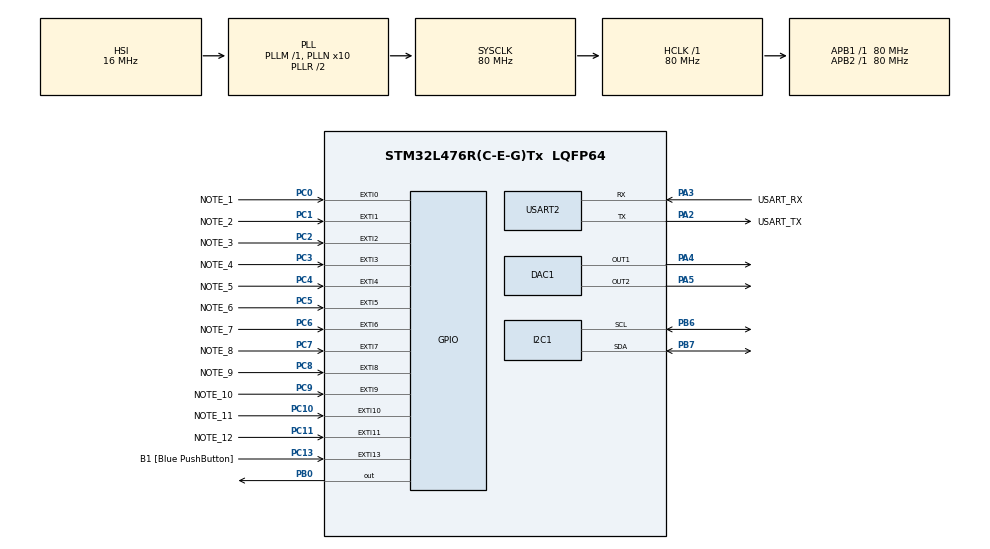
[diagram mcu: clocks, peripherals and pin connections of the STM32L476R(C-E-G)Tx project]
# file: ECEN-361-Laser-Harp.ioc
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DAC1.DAC_Channel-DAC_OUT2=DAC_CHANNEL_2
I2C1.Timing=0x10909CEC
Mcu.Family=STM32L4
Mcu.Name=STM32L476R(C-E-G)Tx
Mcu.Package=LQFP64
NVIC.EXTI0_IRQn=true\:0\:0\:false\:false\:true\:true\:true\:true
NVIC.EXTI15_10_IRQn=true\:0\:0\:false\:false\:true\:true\:true\:true
NVIC.EXTI1_IRQn=true\:0\:0\:false\:false\:true\:true\:true\:true
NVIC.EXTI2_IRQn=true\:0\:0\:false\:false\:true\:true\:true\:true
NVIC.EXTI3_IRQn=true\:0\:0\:false\:false\:true\:true\:true\:true
NVIC.EXTI4_IRQn=true\:0\:0\:false\:false\:true\:true\:true\:true
NVIC.EXTI9_5_IRQn=true\:0\:0\:false\:false\:true\:true\:true\:true
NVIC.PriorityGroup=NVIC_PRIORITYGROUP_4
NVIC.TIM1_BRK_TIM15_IRQn=true\:0\:0\:false\:false\:true\:true\:true\:true
NVIC.TIM6_DAC_IRQn=true\:0\:0\:false\:false\:true\:true\:true\:true
NVIC.USART2_IRQn=true\:0\:0\:false\:false\:true\:true\:true\:true
PA13\ (JTMS-SWDIO).GPIO_Label=TMS
PA13\ (JTMS-SWDIO).Mode=Serial_Wire
PA13\ (JTMS-SWDIO).Signal=SYS_JTMS-SWDIO
PA14\ (JTCK-SWCLK).GPIO_Label=TCK
PA14\ (JTCK-SWCLK).Mode=Serial_Wire
PA14\ (JTCK-SWCLK).Signal=SYS_JTCK-SWCLK
PA2.GPIO_Label=USART_TX
PA2.GPIO_Mode=GPIO_MODE_AF_PP
PA2.GPIO_PuPd=GPIO_NOPULL
PA2.GPIO_Speed=GPIO_SPEED_FREQ_VERY_HIGH
PA2.Mode=Asynchronous
PA2.Signal=USART2_TX
PA3.GPIO_Label=USART_RX
PA3.GPIO_Mode=GPIO_MODE_AF_PP
PA3.GPIO_PuPd=GPIO_NOPULL
PA3.GPIO_Speed=GPIO_SPEED_FREQ_VERY_HIGH
PA3.Mode=Asynchronous
PA3.Signal=USART2_RX
PA4.Signal=COMP_DAC11_group
PA5.Signal=COMP_DAC12_group
PB0.Signal=GPIO_Output
PB3\ (JTDO-TRACESWO).GPIO_Label=SWO
PB3\ (JTDO-TRACESWO).Signal=SYS_JTDO-SWO
PB6.Mode=I2C
PB6.Signal=I2C1_SCL
PB7.Mode=I2C
PB7.Signal=I2C1_SDA
PC0.GPIO_Label=NOTE_1
PC0.GPIO_ModeDefaultEXTI=GPIO_MODE_IT_RISING
PC0.GPIO_PuPd=GPIO_NOPULL
PC0.Signal=GPXTI0
PC1.GPIO_Label=NOTE_2
PC1.GPIO_PuPd=GPIO_NOPULL
PC1.Signal=GPXTI1
PC10.GPIO_Label=NOTE_11
PC10.GPIO_PuPd=GPIO_NOPULL
PC10.Signal=GPXTI10
PC11.GPIO_Label=NOTE_12
PC11.GPIO_PuPd=GPIO_PULLDOWN
PC11.Signal=GPXTI11
PC13.GPIO_Label=B1 [Blue PushButton]
PC13.GPIO_ModeDefaultEXTI=GPIO_MODE_IT_FALLING
PC13.GPIO_PuPd=GPIO_NOPULL
PC13.Signal=GPXTI13
PC14-OSC32_IN\ (PC14).Mode=LSE-External-Oscillator
PC14-OSC32_IN\ (PC14).Signal=RCC_OSC32_IN
PC15-OSC32_OUT\ (PC15).Mode=LSE-External-Oscillator
PC15-OSC32_OUT\ (PC15).Signal=RCC_OSC32_OUT
PC2.GPIO_Label=NOTE_3
PC2.GPIO_PuPd=GPIO_NOPULL
PC2.Signal=GPXTI2
PC3.GPIO_Label=NOTE_4
PC3.GPIO_PuPd=GPIO_NOPULL
PC3.Signal=GPXTI3
PC4.GPIO_Label=NOTE_5
PC4.GPIO_PuPd=GPIO_NOPULL
PC4.Signal=GPXTI4
PC5.GPIO_Label=NOTE_6
PC5.GPIO_PuPd=GPIO_NOPULL
PC5.Signal=GPXTI5
PC6.GPIO_Label=NOTE_7
PC6.GPIO_PuPd=GPIO_NOPULL
PC6.Signal=GPXTI6
PC7.GPIO_Label=NOTE_8
PC7.GPIO_PuPd=GPIO_NOPULL
PC7.Signal=GPXTI7
PC8.GPIO_Label=NOTE_9
PC8.GPIO_PuPd=GPIO_PULLDOWN
PC8.Signal=GPXTI8
PC9.GPIO_Label=NOTE_10
PC9.GPIO_PuPd=GPIO_NOPULL
PC9.Signal=GPXTI9
PH0-OSC_IN\ (PH0).Signal=RCC_OSC_IN
PH1-OSC_OUT\ (PH1).Signal=RCC_OSC_OUT
ProjectManager.HeapSize=0x200
ProjectManager.StackSize=0x400
ProjectManager.TargetToolchain=STM32CubeIDE
RCC.ADCFreq_Value=64000000
RCC.AHBFreq_Value=80000000
RCC.APB1Freq_Value=80000000
RCC.APB1TimFreq_Value=80000000
RCC.APB2Freq_Value=80000000
RCC.APB2TimFreq_Value=80000000
RCC.CortexFreq_Value=80000000
RCC.HCLKFreq_Value=80000000
RCC.HSE_VALUE=8000000
RCC.HSI_VALUE=16000000
RCC.MSI_VALUE=4000000
RCC.PLLN=10
RCC.PLLSourceVirtual=RCC_PLLSOURCE_HSI
RCC.PREFETCH_ENABLE=1
RCC.SYSCLKFreq_VALUE=80000000
RCC.SYSCLKSource=RCC_SYSCLKSOURCE_PLLCLK
RCC.USBFreq_Value=64000000
RCC.VCOOutputFreq_Value=160000000
SH.COMP_DAC11_group.0=DAC1_OUT1,DAC_OUT1
SH.COMP_DAC12_group.0=DAC1_OUT2,DAC_OUT2
TIM15.AutoReloadPreload=TIM_AUTORELOAD_PRELOAD_ENABLE
TIM15.Period=9
TIM15.Prescaler=80-1
USART2.VirtualMode-Asynchronous=VM_ASYNC
VP_TIM15_VS_ClockSourceINT.Mode=Internal
board=NUCLEO-L476RG

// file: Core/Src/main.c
/* USER CODE BEGIN Header */
/*
    __                               __  __
   / /   ____ _ _____ ___   _____   / / / /____ _ _____ ____
  / /   / __ `// ___// _ \ / ___/  / /_/ // __ `// ___// __ \
 / /___/ /_/ /(__  )/  __// /     / __  // /_/ // /   / /_/ /
/_____/\__,_//____/ \___//_/     /_/ /_/ \__,_//_/   / .___/
                                                    /_/
*/
/**
  ******************************************************************************
  * @file           : main.c
  * @brief          : Main program body
  ******************************************************************************
  * @attention
  *
  * Copyright (c) 2024 STMicroelectronics.
  * All rights reserved.
  *
  * This software is licensed under terms that can be found in the LICENSE file
  * in the root directory of this software component.
  * If no LICENSE file comes with this software, it is provided AS-IS.
  *
  ******************************************************************************
  * Authors: Ian Searle
  * Version: 1.0.0
  */
/* USER CODE END Header */
#include "main.h"

/* USER CODE BEGIN Includes */
//#include "sine_tables.h"
#include "tranposition.h"
#include "I2C_commands.h"

/* USER CODE END Includes */

/* USER CODE BEGIN PM */

/* These defines represent the point in a list where that notes data is held.*/
#define NOTE_C 		0
#define NOTE_Cs 	1
#define NOTE_D 		2
#define NOTE_Ds 	3
#define NOTE_E 		4
#define NOTE_F 		5
#define NOTE_Fs 	6
#define NOTE_G 		7
#define NOTE_Gs 	8
#define NOTE_A 		9
#define NOTE_As		10
#define NOTE_B 		11

/* USER CODE END PM */

DAC_HandleTypeDef hdac1;

I2C_HandleTypeDef hi2c1;

TIM_HandleTypeDef htim15;

UART_HandleTypeDef huart2;

/* USER CODE BEGIN PV */
/* Index and Active are lists that are 12 long. This is to improve spatial locality in the program.
Using the above stated define we can thats notes data from the list*/

int index[] = {1,0,0,0,0,0,0,0,0,0,0,0};
int active[] = {1,0,0,0,0,0,0,0,0,0,0,0};

//char screen_out[] ={"H","e","l","l","o"};

/* USER CODE END PV */

void SystemClock_Config(void);
static void MX_GPIO_Init(void);
static void MX_USART2_UART_Init(void);
static void MX_DAC1_Init(void);
static void MX_TIM15_Init(void);
static void MX_I2C1_Init(void);

int main(void)
{

  /* MCU Configuration--------------------------------------------------------*/

  /* Reset of all peripherals, Initializes the Flash interface and the Systick. */
  HAL_Init();

  /* Configure the system clock */
  SystemClock_Config();

  /* Initialize all configured peripherals */
  MX_GPIO_Init();
  MX_USART2_UART_Init();
  MX_DAC1_Init();
  MX_TIM15_Init();
  MX_I2C1_Init();
  /* USER CODE BEGIN 2 */

  HAL_TIM_Base_Start_IT(&htim15); // Start the Music Interrupt Timer

  HAL_DAC_Start(&hdac1, DAC_CHANNEL_2); // Start one of the dac channels

  /* USER CODE END 2 */

  /* Infinite loop */
  while (1)
  {

  }
}

void SystemClock_Config(void)
{
  RCC_OscInitTypeDef RCC_OscInitStruct = {0};
  RCC_ClkInitTypeDef RCC_ClkInitStruct = {0};

  /** Configure the main internal regulator output voltage
  */
  if (HAL_PWREx_ControlVoltageScaling(PWR_REGULATOR_VOLTAGE_SCALE1) != HAL_OK)
  {
    Error_Handler();
  }

  /** Initializes the RCC Oscillators according to the specified parameters
  * in the RCC_OscInitTypeDef structure.
  */
  RCC_OscInitStruct.OscillatorType = RCC_OSCILLATORTYPE_HSI;
  RCC_OscInitStruct.HSIState = RCC_HSI_ON;
  RCC_OscInitStruct.HSICalibrationValue = RCC_HSICALIBRATION_DEFAULT;
  RCC_OscInitStruct.PLL.PLLState = RCC_PLL_ON;
  RCC_OscInitStruct.PLL.PLLSource = RCC_PLLSOURCE_HSI;
  RCC_OscInitStruct.PLL.PLLM = 1;
  RCC_OscInitStruct.PLL.PLLN = 10;
  RCC_OscInitStruct.PLL.PLLP = RCC_PLLP_DIV7;
  RCC_OscInitStruct.PLL.PLLQ = RCC_PLLQ_DIV2;
  RCC_OscInitStruct.PLL.PLLR = RCC_PLLR_DIV2;
  if (HAL_RCC_OscConfig(&RCC_OscInitStruct) != HAL_OK)
  {
    Error_Handler();
  }

  /** Initializes the CPU, AHB and APB buses clocks
  */
  RCC_ClkInitStruct.ClockType = RCC_CLOCKTYPE_HCLK|RCC_CLOCKTYPE_SYSCLK
                              |RCC_CLOCKTYPE_PCLK1|RCC_CLOCKTYPE_PCLK2;
  RCC_ClkInitStruct.SYSCLKSource = RCC_SYSCLKSOURCE_PLLCLK;
  RCC_ClkInitStruct.AHBCLKDivider = RCC_SYSCLK_DIV1;
  RCC_ClkInitStruct.APB1CLKDivider = RCC_HCLK_DIV1;
  RCC_ClkInitStruct.APB2CLKDivider = RCC_HCLK_DIV1;

  if (HAL_RCC_ClockConfig(&RCC_ClkInitStruct, FLASH_LATENCY_4) != HAL_OK)
  {
    Error_Handler();
  }
}

static void MX_DAC1_Init(void)
{

  DAC_ChannelConfTypeDef sConfig = {0};

  /** DAC Initialization
  */
  hdac1.Instance = DAC1;
  if (HAL_DAC_Init(&hdac1) != HAL_OK)
  {
    Error_Handler();
  }

  /** DAC channel OUT1 config
  */
  sConfig.DAC_SampleAndHold = DAC_SAMPLEANDHOLD_DISABLE;
  sConfig.DAC_Trigger = DAC_TRIGGER_NONE;
  sConfig.DAC_OutputBuffer = DAC_OUTPUTBUFFER_ENABLE;
  sConfig.DAC_ConnectOnChipPeripheral = DAC_CHIPCONNECT_DISABLE;
  sConfig.DAC_UserTrimming = DAC_TRIMMING_FACTORY;
  if (HAL_DAC_ConfigChannel(&hdac1, &sConfig, DAC_CHANNEL_1) != HAL_OK)
  {
    Error_Handler();
  }

  /** DAC channel OUT2 config
  */
  if (HAL_DAC_ConfigChannel(&hdac1, &sConfig, DAC_CHANNEL_2) != HAL_OK)
  {
    Error_Handler();
  }

}

static void MX_I2C1_Init(void)
{

  hi2c1.Instance = I2C1;
  hi2c1.Init.Timing = 0x10909CEC;
  hi2c1.Init.OwnAddress1 = 0;
  hi2c1.Init.AddressingMode = I2C_ADDRESSINGMODE_7BIT;
  hi2c1.Init.DualAddressMode = I2C_DUALADDRESS_DISABLE;
  hi2c1.Init.OwnAddress2 = 0;
  hi2c1.Init.OwnAddress2Masks = I2C_OA2_NOMASK;
  hi2c1.Init.GeneralCallMode = I2C_GENERALCALL_DISABLE;
  hi2c1.Init.NoStretchMode = I2C_NOSTRETCH_DISABLE;
  if (HAL_I2C_Init(&hi2c1) != HAL_OK)
  {
    Error_Handler();
  }

  /** Configure Analogue filter
  */
  if (HAL_I2CEx_ConfigAnalogFilter(&hi2c1, I2C_ANALOGFILTER_ENABLE) != HAL_OK)
  {
    Error_Handler();
  }

  /** Configure Digital filter
  */
  if (HAL_I2CEx_ConfigDigitalFilter(&hi2c1, 0) != HAL_OK)
  {
    Error_Handler();
  }

}

static void MX_TIM15_Init(void)
{

  TIM_ClockConfigTypeDef sClockSourceConfig = {0};
  TIM_MasterConfigTypeDef sMasterConfig = {0};

  htim15.Instance = TIM15;
  htim15.Init.Prescaler = 80-1;
  htim15.Init.CounterMode = TIM_COUNTERMODE_UP;
  htim15.Init.Period = 9;
  htim15.Init.ClockDivision = TIM_CLOCKDIVISION_DIV1;
  htim15.Init.RepetitionCounter = 0;
  htim15.Init.AutoReloadPreload = TIM_AUTORELOAD_PRELOAD_ENABLE;
  if (HAL_TIM_Base_Init(&htim15) != HAL_OK)
  {
    Error_Handler();
  }
  sClockSourceConfig.ClockSource = TIM_CLOCKSOURCE_INTERNAL;
  if (HAL_TIM_ConfigClockSource(&htim15, &sClockSourceConfig) != HAL_OK)
  {
    Error_Handler();
  }
  sMasterConfig.MasterOutputTrigger = TIM_TRGO_RESET;
  sMasterConfig.MasterSlaveMode = TIM_MASTERSLAVEMODE_DISABLE;
  if (HAL_TIMEx_MasterConfigSynchronization(&htim15, &sMasterConfig) != HAL_OK)
  {
    Error_Handler();
  }

}

static void MX_USART2_UART_Init(void)
{

  huart2.Instance = USART2;
  huart2.Init.BaudRate = 115200;
  huart2.Init.WordLength = UART_WORDLENGTH_8B;
  huart2.Init.StopBits = UART_STOPBITS_1;
  huart2.Init.Parity = UART_PARITY_NONE;
  huart2.Init.Mode = UART_MODE_TX_RX;
  huart2.Init.HwFlowCtl = UART_HWCONTROL_NONE;
  huart2.Init.OverSampling = UART_OVERSAMPLING_16;
  huart2.Init.OneBitSampling = UART_ONE_BIT_SAMPLE_DISABLE;
  huart2.AdvancedInit.AdvFeatureInit = UART_ADVFEATURE_NO_INIT;
  if (HAL_UART_Init(&huart2) != HAL_OK)
  {
    Error_Handler();
  }

}

static void MX_GPIO_Init(void)
{
  GPIO_InitTypeDef GPIO_InitStruct = {0};

  /* GPIO Ports Clock Enable */
  __HAL_RCC_GPIOC_CLK_ENABLE();
  __HAL_RCC_GPIOH_CLK_ENABLE();
  __HAL_RCC_GPIOA_CLK_ENABLE();
  __HAL_RCC_GPIOB_CLK_ENABLE();

  /*Configure GPIO pin Output Level */
  HAL_GPIO_WritePin(GPIOB, GPIO_PIN_0, GPIO_PIN_RESET);

  /*Configure GPIO pin : B1_Pin */
  GPIO_InitStruct.Pin = B1_Pin;
  GPIO_InitStruct.Mode = GPIO_MODE_IT_FALLING;
  GPIO_InitStruct.Pull = GPIO_NOPULL;
  HAL_GPIO_Init(B1_GPIO_Port, &GPIO_InitStruct);

  /*Configure GPIO pins : NOTE_1_Pin NOTE_2_Pin NOTE_3_Pin NOTE_4_Pin
                           NOTE_5_Pin NOTE_6_Pin NOTE_7_Pin NOTE_8_Pin
                           NOTE_10_Pin NOTE_11_Pin */
  GPIO_InitStruct.Pin = NOTE_1_Pin|NOTE_2_Pin|NOTE_3_Pin|NOTE_4_Pin
                          |NOTE_5_Pin|NOTE_6_Pin|NOTE_7_Pin|NOTE_8_Pin
                          |NOTE_10_Pin|NOTE_11_Pin;
  GPIO_InitStruct.Mode = GPIO_MODE_IT_RISING;
  GPIO_InitStruct.Pull = GPIO_NOPULL;
  HAL_GPIO_Init(GPIOC, &GPIO_InitStruct);

  /*Configure GPIO pin : PB0 */
  GPIO_InitStruct.Pin = GPIO_PIN_0;
  GPIO_InitStruct.Mode = GPIO_MODE_OUTPUT_PP;
  GPIO_InitStruct.Pull = GPIO_NOPULL;
  GPIO_InitStruct.Speed = GPIO_SPEED_FREQ_LOW;
  HAL_GPIO_Init(GPIOB, &GPIO_InitStruct);

  /*Configure GPIO pins : NOTE_9_Pin NOTE_12_Pin */
  GPIO_InitStruct.Pin = NOTE_9_Pin|NOTE_12_Pin;
  GPIO_InitStruct.Mode = GPIO_MODE_IT_RISING;
  GPIO_InitStruct.Pull = GPIO_PULLDOWN;
  HAL_GPIO_Init(GPIOC, &GPIO_InitStruct);

  /* EXTI interrupt init*/
  HAL_NVIC_SetPriority(EXTI0_IRQn, 0, 0);
  HAL_NVIC_EnableIRQ(EXTI0_IRQn);

  HAL_NVIC_SetPriority(EXTI1_IRQn, 0, 0);
  HAL_NVIC_EnableIRQ(EXTI1_IRQn);

  HAL_NVIC_SetPriority(EXTI2_IRQn, 0, 0);
  HAL_NVIC_EnableIRQ(EXTI2_IRQn);

  HAL_NVIC_SetPriority(EXTI3_IRQn, 0, 0);
  HAL_NVIC_EnableIRQ(EXTI3_IRQn);

  HAL_NVIC_SetPriority(EXTI4_IRQn, 0, 0);
  HAL_NVIC_EnableIRQ(EXTI4_IRQn);

  HAL_NVIC_SetPriority(EXTI9_5_IRQn, 0, 0);
  HAL_NVIC_EnableIRQ(EXTI9_5_IRQn);

  HAL_NVIC_SetPriority(EXTI15_10_IRQn, 0, 0);
  HAL_NVIC_EnableIRQ(EXTI15_10_IRQn);

}

/* USER CODE BEGIN 4 */
void HAL_GPIO_EXTI_Callback(uint16_t GPIO_Pin){
	switch (GPIO_Pin) {
	case NOTE_1_Pin:
		active[NOTE_C] = !active[NOTE_C];
		break;
	case NOTE_2_Pin:
		active[NOTE_Cs] = !active[NOTE_Cs];
		break;
	case NOTE_3_Pin:
		active[NOTE_D] = !active[NOTE_D];
		break;
	case NOTE_4_Pin:
		active[NOTE_Ds] = !active[NOTE_Ds];
		break;
	case NOTE_5_Pin:
		active[NOTE_E] = !active[NOTE_E];
		break;
	case NOTE_6_Pin:
		active[NOTE_F] = !active[NOTE_F];
		break;
	case NOTE_7_Pin:
		active[NOTE_Fs] = !active[NOTE_Fs];
		break;
	case NOTE_8_Pin:
		active[NOTE_G] = !active[NOTE_G];
		break;
	case NOTE_9_Pin:
		active[NOTE_Gs] = !active[NOTE_Gs];
		break;
	case NOTE_10_Pin:
		active[NOTE_A] = !active[NOTE_A];
		break;
	case NOTE_11_Pin:
		active[NOTE_As] = !active[NOTE_As];
		break;
	case NOTE_12_Pin:
		active[NOTE_B] = !active[NOTE_B];
		break;

	default:
		break;
	}
}

// Callback: timer has rolled over
void HAL_TIM_PeriodElapsedCallback(TIM_HandleTypeDef *htim)
{
  if (htim == &htim15 )
  {
	  int wave = tranposition__note_update();
	  HAL_DAC_SetValue(&hdac1, DAC_CHANNEL_1, DAC_ALIGN_12B_R, wave);
  }
}
/* USER CODE END 4 */

void Error_Handler(void)
{
  __disable_irq();
  while (1)
  {
  }
}
